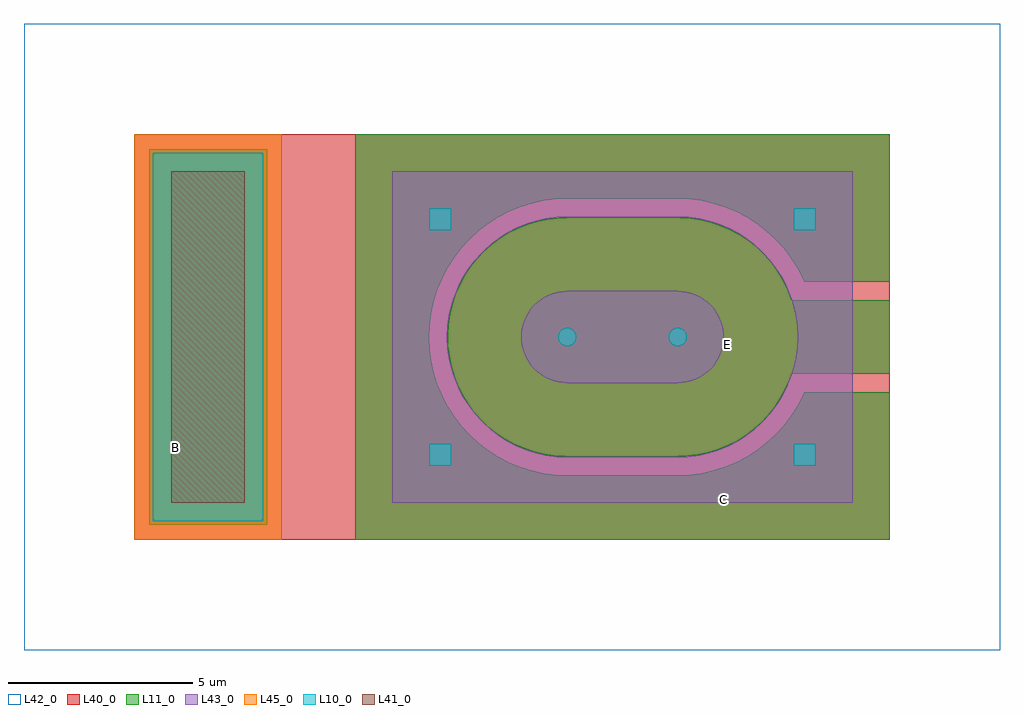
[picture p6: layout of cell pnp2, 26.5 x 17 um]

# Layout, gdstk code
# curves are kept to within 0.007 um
import gdstk
lib = gdstk.Library(unit=1e-6, precision=1e-09)
def R(c, l, rs):  # rectangles x0, y0, x1, y1
    for r in rs: c.add(gdstk.rectangle(r[:2], r[2:], *l))
def P(c, l, *ps):  # polygons
    for p in ps: c.add(gdstk.Polygon(p, *l))
L10_0 = (10, 0)
L11_0 = (11, 0)
L40_0 = (40, 0)
L41_0 = (41, 0)
L42_0 = (42, 0)
L43_0 = (43, 0)
L45_0 = (45, 0)

pnp2 = lib.new_cell('pnp2')
R(pnp2, L10_0, [(3.5,3.5,6.5,13.5), (11,5,11.6,5.6), (20.9,5,21.5,5.6), (11,11.4,11.6,12), (20.9,11.4,21.5,12)])
P(pnp2, L10_0, [(17.75,8.75),(17.644,8.727),(17.573,8.677),(17.523,8.606),(17.5,8.5),(17.523,8.394),(17.573,8.323),(17.644,8.273),(17.75,8.25),(17.856,8.273),(17.927,8.323),(17.977,8.394),(18,8.5),(17.977,8.606),(17.927,8.677),(17.856,8.727)],
  [(14.75,8.75),(14.644,8.727),(14.573,8.677),(14.523,8.606),(14.5,8.5),(14.523,8.394),(14.573,8.323),(14.644,8.273),(14.75,8.25),(14.856,8.273),(14.927,8.323),(14.977,8.394),(15,8.5),(14.977,8.606),(14.927,8.677),(14.856,8.727)])
R(pnp2, L11_0, [(3.4,3.4,6.6,13.6)])
P(pnp2, L11_0, [(23.5,14),(9,14),(9,3),(23.5,3),(23.5,7),(21.184,7),(20.998,6.625),(20.822,6.349),(20.623,6.09),(20.402,5.848),(20.16,5.627),(19.901,5.428),(19.625,5.252),(19.335,5.101),(19.033,4.976),(18.721,4.878),(18.401,4.807),(18.077,4.764),(17.75,4.75),(14.75,4.75),(14.423,4.764),(14.099,4.807),(13.779,4.878),(13.467,4.976),(13.165,5.101),(12.875,5.252),(12.599,5.428),(12.34,5.627),(12.098,5.848),(11.877,6.09),(11.678,6.349),(11.502,6.625),(11.351,6.915),(11.226,7.217),(11.128,7.529),(11.057,7.849),(11.014,8.173),(11,8.5),(11.014,8.827),(11.057,9.151),(11.128,9.471),(11.226,9.783),(11.351,10.085),(11.502,10.375),(11.678,10.651),(11.877,10.91),(12.098,11.152),(12.34,11.373),(12.599,11.572),(12.875,11.748),(13.165,11.899),(13.467,12.024),(13.779,12.122),(14.099,12.193),(14.423,12.236),(14.75,12.25),(17.75,12.25),(18.077,12.236),(18.401,12.193),(18.721,12.122),(19.033,12.024),(19.335,11.899),(19.625,11.748),(19.901,11.572),(20.16,11.373),(20.402,11.152),(20.623,10.91),(20.822,10.651),(20.998,10.375),(21.184,10),(23.5,10)],
  [(17.8,11.75),(14.75,11.749),(14.517,11.742),(14.235,11.709),(13.957,11.652),(13.685,11.571),(13.422,11.467),(13.168,11.34),(12.927,11.191),(12.699,11.022),(12.487,10.833),(12.292,10.627),(12.116,10.405),(11.96,10.168),(11.826,9.919),(11.713,9.659),(11.624,9.389),(11.558,9.114),(11.517,8.833),(11.5,8.55),(11.508,8.267),(11.541,7.985),(11.598,7.707),(11.679,7.435),(11.783,7.172),(11.91,6.918),(12.059,6.677),(12.228,6.449),(12.417,6.237),(12.623,6.042),(12.845,5.866),(13.082,5.71),(13.331,5.576),(13.591,5.463),(13.861,5.374),(14.136,5.308),(14.417,5.267),(14.7,5.25),(17.75,5.251),(17.983,5.258),(18.265,5.291),(18.543,5.348),(18.815,5.429),(19.078,5.533),(19.332,5.66),(19.573,5.809),(19.801,5.978),(20.013,6.167),(20.208,6.373),(20.384,6.595),(20.54,6.832),(20.674,7.081),(20.787,7.341),(20.839,7.5),(23.5,7.5),(23.5,9.5),(20.84,9.5),(20.717,9.828),(20.59,10.082),(20.441,10.323),(20.272,10.551),(20.083,10.763),(19.877,10.958),(19.655,11.134),(19.418,11.29),(19.169,11.424),(18.909,11.537),(18.639,11.626),(18.364,11.692),(18.083,11.733)])
R(pnp2, L40_0, [(3,3,23.5,14)])
R(pnp2, L41_0, [(4,4,6,13)])
R(pnp2, L42_0, [(0,0,26.5,17)])
P(pnp2, L43_0, [(17.75,9.751),(14.75,9.751),(14.635,9.746),(14.426,9.708),(14.218,9.633),(14.114,9.578),(13.949,9.463),(13.787,9.301),(13.672,9.137),(13.564,8.9),(13.52,8.725),(13.504,8.614),(13.504,8.386),(13.542,8.178),(13.617,7.968),(13.672,7.863),(13.787,7.699),(13.949,7.537),(14.04,7.471),(14.218,7.367),(14.35,7.314),(14.635,7.254),(17.75,7.249),(17.865,7.254),(18.074,7.292),(18.282,7.367),(18.46,7.471),(18.551,7.537),(18.635,7.616),(18.713,7.699),(18.779,7.79),(18.883,7.968),(18.958,8.178),(18.996,8.386),(18.996,8.614),(18.98,8.725),(18.936,8.9),(18.828,9.137),(18.713,9.301),(18.551,9.463),(18.386,9.578),(18.15,9.686),(17.974,9.73)],
  [(22.5,13),(17.75,13),(17.75,11.753),(18.05,11.74),(18.346,11.696),(18.564,11.648),(18.806,11.579),(19.12,11.452),(19.409,11.299),(19.611,11.165),(19.817,11.017),(20.049,10.801),(20.264,10.57),(20.404,10.376),(20.554,10.153),(20.701,9.872),(20.834,9.542),(20.949,9.086),(20.99,8.8),(21.003,8.503),(20.99,8.198),(20.95,7.921),(20.837,7.47),(20.7,7.125),(20.55,6.842),(20.419,6.644),(20.254,6.418),(20.06,6.211),(19.825,5.99),(19.606,5.832),(19.409,5.701),(19.12,5.548),(18.806,5.421),(18.564,5.352),(18.346,5.304),(18.05,5.26),(17.75,5.247),(14.75,5.247),(14.45,5.26),(14.154,5.304),(13.936,5.352),(13.694,5.421),(13.38,5.548),(13.091,5.701),(12.675,5.99),(12.44,6.211),(12.246,6.417),(11.946,6.847),(11.799,7.128),(11.664,7.467),(11.61,7.656),(11.55,7.921),(11.51,8.198),(11.497,8.497),(11.51,8.8),(11.551,9.086),(11.666,9.542),(11.799,9.872),(11.946,10.153),(12.236,10.57),(12.451,10.801),(12.683,11.017),(13.091,11.299),(13.38,11.452),(13.694,11.579),(13.936,11.648),(14.154,11.696),(14.45,11.74),(14.75,11.753),(17.75,11.749),(17.75,13),(10,13),(10,4),(22.5,4)])
R(pnp2, L45_0, [(3,3,7,14)])
pnp2.add(gdstk.Label('B', (4.1,5.5), layer=11, texttype=0))
pnp2.add(gdstk.Label('C', (19,4.1), layer=11, texttype=0))
pnp2.add(gdstk.Label('E', (19.1,8.3), layer=11, texttype=0))

lib.write_gds('pnp2.gds')
